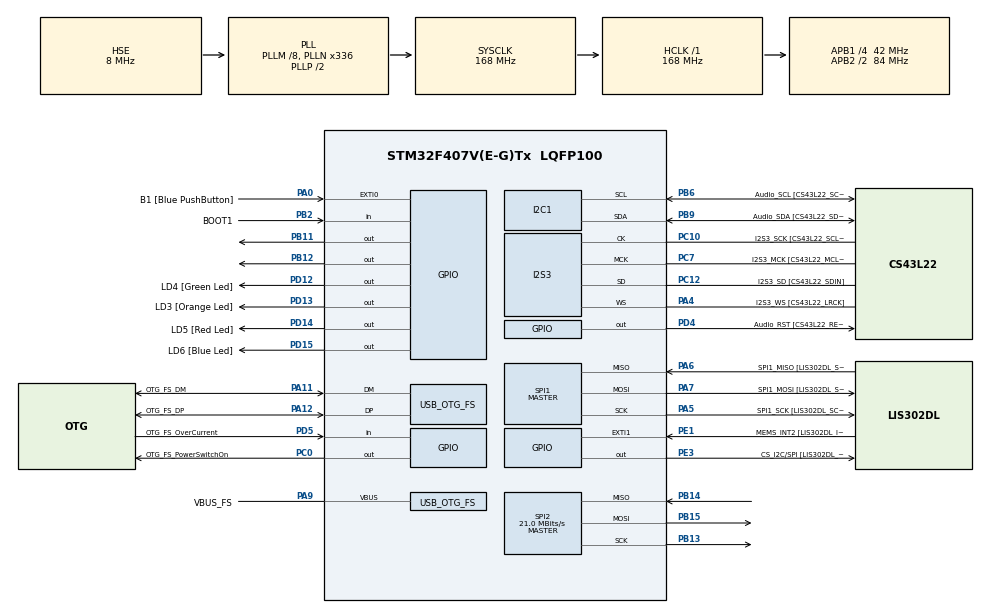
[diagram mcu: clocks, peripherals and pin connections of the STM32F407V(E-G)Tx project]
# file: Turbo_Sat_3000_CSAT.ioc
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FREERTOS.Tasks01=Task_Idle,-3,128,Idle_App,Default,NULL,Dynamic,NULL,NULL;Task_SPI_Tx,0,256,SPI_Tx_App,Default,NULL,Dynamic,NULL,NULL;Task_SPI_Rx,1,128,SPI_Rx_App,Default,NULL,Dynamic,NULL,NULL;Task_Camera,0,512,Camera_App,Default,NULL,Dynamic,NULL,NULL
FREERTOS.configUSE_NEWLIB_REENTRANT=1
I2S3.AudioFreq-Half_Duplex_Master=I2S_AUDIOFREQ_96K
I2S3.ErrorAudioFreq=-2.34 %
I2S3.ErrorAudioFreq-Half_Duplex_Master=0.8 %
I2S3.FullDuplexMode=I2S_FULLDUPLEXMODE_DISABLE
I2S3.Instance=SPI$Index
I2S3.RealAudioFreq=93.75 KHz
I2S3.RealAudioFreq-Half_Duplex_Master=96.774 KHz
I2S3.VirtualMode=I2S_MODE_MASTER
Mcu.Family=STM32F4
Mcu.Name=STM32F407V(E-G)Tx
Mcu.Package=LQFP100
NVIC.OTG_FS_IRQn=true\:5\:0\:false\:false\:true\:true\:true\:true\:true
NVIC.PriorityGroup=NVIC_PRIORITYGROUP_4
NVIC.TIM6_DAC_IRQn=true\:15\:0\:false\:false\:true\:false\:false\:true\:true
NVIC.TimeBase=TIM6_DAC_IRQn
NVIC.TimeBaseIP=TIM6
PA0-WKUP.GPIO_Label=B1 [Blue PushButton]
PA0-WKUP.GPIO_ModeDefaultEXTI=GPIO_MODE_EVT_RISING
PA0-WKUP.GPIO_PuPd=GPIO_NOPULL
PA0-WKUP.Signal=GPXTI0
PA10.GPIO_Label=OTG_FS_ID
PA10.GPIO_Mode=GPIO_MODE_AF_PP
PA10.GPIO_PuPd=GPIO_NOPULL
PA10.GPIO_Speed=GPIO_SPEED_FREQ_LOW
PA10.Signal=USB_OTG_FS_ID
PA11.GPIO_Label=OTG_FS_DM
PA11.GPIO_Mode=GPIO_MODE_AF_PP
PA11.GPIO_PuPd=GPIO_NOPULL
PA11.GPIO_Speed=GPIO_SPEED_FREQ_LOW
PA11.Mode=Host_Only
PA11.Signal=USB_OTG_FS_DM
PA12.GPIO_Label=OTG_FS_DP
PA12.GPIO_Mode=GPIO_MODE_AF_PP
PA12.GPIO_PuPd=GPIO_NOPULL
PA12.GPIO_Speed=GPIO_SPEED_FREQ_LOW
PA12.Mode=Host_Only
PA12.Signal=USB_OTG_FS_DP
PA13.GPIO_Label=SWDIO
PA13.Mode=Serial_Wire
PA13.Signal=SYS_JTMS-SWDIO
PA14.GPIO_Label=SWCLK
PA14.Mode=Serial_Wire
PA14.Signal=SYS_JTCK-SWCLK
PA4.GPIO_Label=I2S3_WS [CS43L22_LRCK]
PA4.GPIO_Mode=GPIO_MODE_AF_PP
PA4.GPIO_PuPd=GPIO_NOPULL
PA4.GPIO_Speed=GPIO_SPEED_FREQ_LOW
PA4.Mode=Half_Duplex_Master
PA4.Signal=I2S3_WS
PA5.GPIO_Label=SPI1_SCK [LIS302DL_SCL/SPC]
PA5.GPIO_Mode=GPIO_MODE_AF_PP
PA5.GPIO_PuPd=GPIO_NOPULL
PA5.GPIO_Speed=GPIO_SPEED_FREQ_LOW
PA5.Mode=Full_Duplex_Master
PA5.Signal=SPI1_SCK
PA6.GPIO_Label=SPI1_MISO [LIS302DL_SDO]
PA6.GPIO_Mode=GPIO_MODE_AF_PP
PA6.GPIO_PuPd=GPIO_NOPULL
PA6.GPIO_Speed=GPIO_SPEED_FREQ_LOW
PA6.Mode=Full_Duplex_Master
PA6.Signal=SPI1_MISO
PA7.GPIO_Label=SPI1_MOSI [LIS302DL_SDA/SDI/SDO]
PA7.GPIO_Mode=GPIO_MODE_AF_PP
PA7.GPIO_PuPd=GPIO_NOPULL
PA7.GPIO_Speed=GPIO_SPEED_FREQ_LOW
PA7.Mode=Full_Duplex_Master
PA7.Signal=SPI1_MOSI
PA9.GPIO_Label=VBUS_FS
PA9.GPIO_Mode=GPIO_MODE_INPUT
PA9.GPIO_PuPd=GPIO_NOPULL
PA9.Mode=Activate_VBUS
PA9.Signal=USB_OTG_FS_VBUS
PB10.GPIO_Label=CLK_IN [MP45DT02_CLK]
PB10.GPIO_Mode=GPIO_MODE_AF_PP
PB10.GPIO_PuPd=GPIO_NOPULL
PB10.GPIO_Speed=GPIO_SPEED_FREQ_LOW
PB10.Signal=I2S2_CK
PB11.Signal=GPIO_Output
PB12.Signal=GPIO_Output
PB13.Mode=Full_Duplex_Master
PB13.Signal=SPI2_SCK
PB14.Mode=Full_Duplex_Master
PB14.Signal=SPI2_MISO
PB15.Mode=Full_Duplex_Master
PB15.Signal=SPI2_MOSI
PB2.GPIO_Label=BOOT1
PB2.GPIO_Mode=GPIO_MODE_INPUT
PB2.GPIO_PuPd=GPIO_NOPULL
PB2.Signal=GPIO_Input
PB3.GPIO_Label=SWO
PB3.Signal=SYS_JTDO-SWO
PB6.GPIO_Label=Audio_SCL [CS43L22_SCL]
PB6.GPIO_Mode=GPIO_MODE_AF_OD
PB6.GPIO_Pu=GPIO_PULLUP
PB6.GPIO_PuPd=GPIO_NOPULL
PB6.GPIO_Speed=GPIO_SPEED_FREQ_LOW
PB6.Mode=I2C
PB6.Signal=I2C1_SCL
PB9.GPIO_Label=Audio_SDA [CS43L22_SDA]
PB9.GPIO_Mode=GPIO_MODE_AF_OD
PB9.GPIO_Pu=GPIO_PULLUP
PB9.GPIO_PuPd=GPIO_NOPULL
PB9.GPIO_Speed=GPIO_SPEED_FREQ_LOW
PB9.Mode=I2C
PB9.Signal=I2C1_SDA
PC0.GPIO_Label=OTG_FS_PowerSwitchOn
PC0.GPIO_PuPd=GPIO_NOPULL
PC0.GPIO_Speed=GPIO_SPEED_FREQ_LOW
PC0.PinState=GPIO_PIN_SET
PC0.Signal=GPIO_Output
PC10.GPIO_Label=I2S3_SCK [CS43L22_SCLK]
PC10.GPIO_Mode=GPIO_MODE_AF_PP
PC10.GPIO_PuPd=GPIO_NOPULL
PC10.GPIO_Speed=GPIO_SPEED_FREQ_LOW
PC10.Mode=Half_Duplex_Master
PC10.Signal=I2S3_CK
PC12.GPIO_Label=I2S3_SD [CS43L22_SDIN]
PC12.GPIO_Mode=GPIO_MODE_AF_PP
PC12.GPIO_PuPd=GPIO_NOPULL
PC12.GPIO_Speed=GPIO_SPEED_FREQ_LOW
PC12.Mode=Half_Duplex_Master
PC12.Signal=I2S3_SD
PC14-OSC32_IN.GPIO_Label=PC14-OSC32_IN
PC14-OSC32_IN.Mode=LSE-External-Oscillator
PC14-OSC32_IN.Signal=RCC_OSC32_IN
PC15-OSC32_OUT.GPIO_Label=PC15-OSC32_OUT
PC15-OSC32_OUT.Mode=LSE-External-Oscillator
PC15-OSC32_OUT.Signal=RCC_OSC32_OUT
PC3.GPIO_Label=PDM_OUT [MP45DT02_DOUT]
PC3.GPIO_Mode=GPIO_MODE_AF_PP
PC3.GPIO_PuPd=GPIO_NOPULL
PC3.GPIO_Speed=GPIO_SPEED_FREQ_LOW
PC3.Signal=I2S2_SD
PC7.GPIO_Label=I2S3_MCK [CS43L22_MCLK]
PC7.GPIO_Mode=GPIO_MODE_AF_PP
PC7.GPIO_PuPd=GPIO_NOPULL
PC7.GPIO_Speed=GPIO_SPEED_FREQ_LOW
PC7.Mode=Master_Clock_Activated
PC7.Signal=I2S3_MCK
PD12.GPIO_Label=LD4 [Green Led]
PD12.GPIO_PuPd=GPIO_NOPULL
PD12.GPIO_Speed=GPIO_SPEED_FREQ_LOW
PD12.Signal=GPIO_Output
PD13.GPIO_Label=LD3 [Orange Led]
PD13.GPIO_PuPd=GPIO_NOPULL
PD13.GPIO_Speed=GPIO_SPEED_FREQ_LOW
PD13.Signal=GPIO_Output
PD14.GPIO_Label=LD5 [Red Led]
PD14.GPIO_PuPd=GPIO_NOPULL
PD14.GPIO_Speed=GPIO_SPEED_FREQ_LOW
PD14.Signal=GPIO_Output
PD15.GPIO_Label=LD6 [Blue Led]
PD15.GPIO_PuPd=GPIO_NOPULL
PD15.GPIO_Speed=GPIO_SPEED_FREQ_LOW
PD15.Signal=GPIO_Output
PD4.GPIO_Label=Audio_RST [CS43L22_RESET]
PD4.GPIO_PuPd=GPIO_NOPULL
PD4.GPIO_Speed=GPIO_SPEED_FREQ_LOW
PD4.Signal=GPIO_Output
PD5.GPIO_Label=OTG_FS_OverCurrent
PD5.GPIO_Mode=GPIO_MODE_INPUT
PD5.GPIO_PuPd=GPIO_NOPULL
PD5.Signal=GPIO_Input
PE1.GPIO_Label=MEMS_INT2 [LIS302DL_INT2]
PE1.GPIO_ModeDefaultEXTI=GPIO_MODE_EVT_RISING
PE1.GPIO_PuPd=GPIO_NOPULL
PE1.Signal=GPXTI1
PE3.GPIO_Label=CS_I2C/SPI [LIS302DL_CS_I2C/SPI]
PE3.GPIO_PuPd=GPIO_NOPULL
PE3.GPIO_Speed=GPIO_SPEED_FREQ_LOW
PE3.Signal=GPIO_Output
PH0-OSC_IN.GPIO_Label=PH0-OSC_IN
PH0-OSC_IN.Mode=HSE-External-Oscillator
PH0-OSC_IN.Signal=RCC_OSC_IN
PH1-OSC_OUT.GPIO_Label=PH1-OSC_OUT
PH1-OSC_OUT.Mode=HSE-External-Oscillator
PH1-OSC_OUT.Signal=RCC_OSC_OUT
ProjectManager.HeapSize=0x200
ProjectManager.StackSize=0x400
ProjectManager.TargetToolchain=STM32CubeIDE
RCC.48MHZClocksFreq_Value=48000000
RCC.AHBFreq_Value=168000000
RCC.APB1CLKDivider=RCC_HCLK_DIV4
RCC.APB1Freq_Value=42000000
RCC.APB1TimFreq_Value=84000000
RCC.APB2CLKDivider=RCC_HCLK_DIV2
RCC.APB2Freq_Value=84000000
RCC.APB2TimFreq_Value=168000000
RCC.CortexFreq_Value=168000000
RCC.HCLKFreq_Value=168000000
RCC.HSE_VALUE=8000000
RCC.HSI_VALUE=16000000
RCC.PLLM=8
RCC.PLLN=336
RCC.PLLQ=7
RCC.SYSCLKFreq_VALUE=168000000
RCC.SYSCLKSource=RCC_SYSCLKSOURCE_PLLCLK
RCC.VCOOutputFreq_Value=336000000
SPI1.BaudRatePrescaler-Full_Duplex_Master=SPI_BAUDRATEPRESCALER_2
SPI1.CalculateBaudRate-Full_Duplex_Master=42.0 MBits/s
SPI1.Direction=SPI_DIRECTION_2LINES
SPI1.Mode=SPI_MODE_MASTER
SPI1.Mode-Full_Duplex_Master=SPI_MODE_MASTER
SPI1.VirtualType=VM_MASTER
SPI2.CalculateBaudRate=21.0 MBits/s
SPI2.Direction=SPI_DIRECTION_2LINES
SPI2.Mode=SPI_MODE_MASTER
SPI2.VirtualType=VM_MASTER
USB_HOST.BSP.number=1
USB_HOST.USBH_HandleTypeDef-CDC_FS=hUsbHostFS
USB_HOST.USBH_USE_OS-CDC_FS=0
USB_HOST.VirtualModeFS=Cdc
USB_HOST0.BSP.STBoard=false
USB_HOST0.BSP.api=Unknown
USB_HOST0.BSP.instance=PC0
USB_HOST0.BSP.ip=GPIO
USB_HOST0.BSP.mode=Output
USB_HOST0.BSP.name=Drive_VBUS_FS
USB_HOST0.BSP.solution=PC0
USB_OTG_FS.VirtualMode=Host_Only
USB_OTG_FS.phy_itface=HCD_PHY_EMBEDDED
VP_FREERTOS_VS_CMSIS_V1.Mode=CMSIS_V1
VP_SYS_VS_tim6.Mode=TIM6
VP_USB_HOST_VS_USB_HOST_CDC_FS.Mode=CDC_FS
board=STM32F407G-DISC1

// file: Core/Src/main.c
/* USER CODE BEGIN Header */
/**
  ******************************************************************************
  * @file           : main.c
  * @brief          : Main program body
  ******************************************************************************
  * @attention
  *
  * Copyright (c) 2022 STMicroelectronics.
  * All rights reserved.
  *
  * This software is licensed under terms that can be found in the LICENSE file
  * in the root directory of this software component.
  * If no LICENSE file comes with this software, it is provided AS-IS.
  *
  ******************************************************************************
  */
/* USER CODE END Header */
#include "main.h"
#include "cmsis_os.h"
#include "usb_host.h"

/* USER CODE BEGIN Includes */
#include "nrf24l01.h"
/* USER CODE END Includes */

I2C_HandleTypeDef hi2c1;

I2S_HandleTypeDef hi2s3;

SPI_HandleTypeDef hspi1;
SPI_HandleTypeDef hspi2;

osThreadId Task_IdleHandle;
osThreadId Task_SPI_TxHandle;
osThreadId Task_SPI_RxHandle;
osThreadId Task_CameraHandle;

void SystemClock_Config(void);
static void MX_GPIO_Init(void);
static void MX_I2C1_Init(void);
static void MX_I2S3_Init(void);
static void MX_SPI1_Init(void);
static void MX_SPI2_Init(void);
void Idle_App(void const * argument);
void SPI_Tx_App(void const * argument);
void SPI_Rx_App(void const * argument);
void Camera_App(void const * argument);

/* USER CODE BEGIN PFP */
uint8_t Address[]={0xEE, 0xDD, 0xCC, 0xBB, 0xAA};
uint8_t data;
uint8_t init = 1;

typedef enum
{
	RX,
	TX,
	OFF
}etat_e;

etat_e SPI_Mode=TX;
/* USER CODE END PFP */

int main(void)
{

  /* MCU Configuration--------------------------------------------------------*/

  /* Reset of all peripherals, Initializes the Flash interface and the Systick. */
  HAL_Init();

  /* Configure the system clock */
  SystemClock_Config();

  /* Initialize all configured peripherals */
  MX_GPIO_Init();
  MX_I2C1_Init();
  MX_I2S3_Init();
  MX_SPI1_Init();
  MX_SPI2_Init();
  /* USER CODE BEGIN 2 */
  nrf24_Init();
  /* USER CODE END 2 */

  /* Create the thread(s) */
  /* definition and creation of Task_Idle */
  osThreadDef(Task_Idle, Idle_App, osPriorityIdle, 0, 128);
  Task_IdleHandle = osThreadCreate(osThread(Task_Idle), NULL);

  /* definition and creation of Task_SPI_Tx */
  osThreadDef(Task_SPI_Tx, SPI_Tx_App, osPriorityNormal, 0, 256);
  Task_SPI_TxHandle = osThreadCreate(osThread(Task_SPI_Tx), NULL);

  /* definition and creation of Task_SPI_Rx */
  osThreadDef(Task_SPI_Rx, SPI_Rx_App, osPriorityAboveNormal, 0, 128);
  Task_SPI_RxHandle = osThreadCreate(osThread(Task_SPI_Rx), NULL);

  /* definition and creation of Task_Camera */
  osThreadDef(Task_Camera, Camera_App, osPriorityNormal, 0, 512);
  Task_CameraHandle = osThreadCreate(osThread(Task_Camera), NULL);

  /* Start scheduler */
  osKernelStart();

  /* We should never get here as control is now taken by the scheduler */
  /* Infinite loop */
  while (1)
  {

  }
}

void SystemClock_Config(void)
{
  RCC_OscInitTypeDef RCC_OscInitStruct = {0};
  RCC_ClkInitTypeDef RCC_ClkInitStruct = {0};

  /** Configure the main internal regulator output voltage
  */
  __HAL_RCC_PWR_CLK_ENABLE();
  __HAL_PWR_VOLTAGESCALING_CONFIG(PWR_REGULATOR_VOLTAGE_SCALE1);

  /** Initializes the RCC Oscillators according to the specified parameters
  * in the RCC_OscInitTypeDef structure.
  */
  RCC_OscInitStruct.OscillatorType = RCC_OSCILLATORTYPE_HSE;
  RCC_OscInitStruct.HSEState = RCC_HSE_ON;
  RCC_OscInitStruct.PLL.PLLState = RCC_PLL_ON;
  RCC_OscInitStruct.PLL.PLLSource = RCC_PLLSOURCE_HSE;
  RCC_OscInitStruct.PLL.PLLM = 8;
  RCC_OscInitStruct.PLL.PLLN = 336;
  RCC_OscInitStruct.PLL.PLLP = RCC_PLLP_DIV2;
  RCC_OscInitStruct.PLL.PLLQ = 7;
  if (HAL_RCC_OscConfig(&RCC_OscInitStruct) != HAL_OK)
  {
    Error_Handler();
  }

  /** Initializes the CPU, AHB and APB buses clocks
  */
  RCC_ClkInitStruct.ClockType = RCC_CLOCKTYPE_HCLK|RCC_CLOCKTYPE_SYSCLK
                              |RCC_CLOCKTYPE_PCLK1|RCC_CLOCKTYPE_PCLK2;
  RCC_ClkInitStruct.SYSCLKSource = RCC_SYSCLKSOURCE_PLLCLK;
  RCC_ClkInitStruct.AHBCLKDivider = RCC_SYSCLK_DIV1;
  RCC_ClkInitStruct.APB1CLKDivider = RCC_HCLK_DIV4;
  RCC_ClkInitStruct.APB2CLKDivider = RCC_HCLK_DIV2;

  if (HAL_RCC_ClockConfig(&RCC_ClkInitStruct, FLASH_LATENCY_5) != HAL_OK)
  {
    Error_Handler();
  }
}

static void MX_I2C1_Init(void)
{

  hi2c1.Instance = I2C1;
  hi2c1.Init.ClockSpeed = 100000;
  hi2c1.Init.DutyCycle = I2C_DUTYCYCLE_2;
  hi2c1.Init.OwnAddress1 = 0;
  hi2c1.Init.AddressingMode = I2C_ADDRESSINGMODE_7BIT;
  hi2c1.Init.DualAddressMode = I2C_DUALADDRESS_DISABLE;
  hi2c1.Init.OwnAddress2 = 0;
  hi2c1.Init.GeneralCallMode = I2C_GENERALCALL_DISABLE;
  hi2c1.Init.NoStretchMode = I2C_NOSTRETCH_DISABLE;
  if (HAL_I2C_Init(&hi2c1) != HAL_OK)
  {
    Error_Handler();
  }

}

static void MX_I2S3_Init(void)
{

  hi2s3.Instance = SPI3;
  hi2s3.Init.Mode = I2S_MODE_MASTER_TX;
  hi2s3.Init.Standard = I2S_STANDARD_PHILIPS;
  hi2s3.Init.DataFormat = I2S_DATAFORMAT_16B;
  hi2s3.Init.MCLKOutput = I2S_MCLKOUTPUT_ENABLE;
  hi2s3.Init.AudioFreq = I2S_AUDIOFREQ_96K;
  hi2s3.Init.CPOL = I2S_CPOL_LOW;
  hi2s3.Init.ClockSource = I2S_CLOCK_PLL;
  hi2s3.Init.FullDuplexMode = I2S_FULLDUPLEXMODE_DISABLE;
  if (HAL_I2S_Init(&hi2s3) != HAL_OK)
  {
    Error_Handler();
  }

}

static void MX_SPI1_Init(void)
{

  /* SPI1 parameter configuration*/
  hspi1.Instance = SPI1;
  hspi1.Init.Mode = SPI_MODE_MASTER;
  hspi1.Init.Direction = SPI_DIRECTION_2LINES;
  hspi1.Init.DataSize = SPI_DATASIZE_8BIT;
  hspi1.Init.CLKPolarity = SPI_POLARITY_LOW;
  hspi1.Init.CLKPhase = SPI_PHASE_1EDGE;
  hspi1.Init.NSS = SPI_NSS_SOFT;
  hspi1.Init.BaudRatePrescaler = SPI_BAUDRATEPRESCALER_2;
  hspi1.Init.FirstBit = SPI_FIRSTBIT_MSB;
  hspi1.Init.TIMode = SPI_TIMODE_DISABLE;
  hspi1.Init.CRCCalculation = SPI_CRCCALCULATION_DISABLE;
  hspi1.Init.CRCPolynomial = 10;
  if (HAL_SPI_Init(&hspi1) != HAL_OK)
  {
    Error_Handler();
  }

}

static void MX_SPI2_Init(void)
{

  /* SPI2 parameter configuration*/
  hspi2.Instance = SPI2;
  hspi2.Init.Mode = SPI_MODE_MASTER;
  hspi2.Init.Direction = SPI_DIRECTION_2LINES;
  hspi2.Init.DataSize = SPI_DATASIZE_8BIT;
  hspi2.Init.CLKPolarity = SPI_POLARITY_LOW;
  hspi2.Init.CLKPhase = SPI_PHASE_1EDGE;
  hspi2.Init.NSS = SPI_NSS_SOFT;
  hspi2.Init.BaudRatePrescaler = SPI_BAUDRATEPRESCALER_2;
  hspi2.Init.FirstBit = SPI_FIRSTBIT_MSB;
  hspi2.Init.TIMode = SPI_TIMODE_DISABLE;
  hspi2.Init.CRCCalculation = SPI_CRCCALCULATION_DISABLE;
  hspi2.Init.CRCPolynomial = 10;
  if (HAL_SPI_Init(&hspi2) != HAL_OK)
  {
    Error_Handler();
  }

}

static void MX_GPIO_Init(void)
{
  GPIO_InitTypeDef GPIO_InitStruct = {0};

  /* GPIO Ports Clock Enable */
  __HAL_RCC_GPIOE_CLK_ENABLE();
  __HAL_RCC_GPIOC_CLK_ENABLE();
  __HAL_RCC_GPIOH_CLK_ENABLE();
  __HAL_RCC_GPIOA_CLK_ENABLE();
  __HAL_RCC_GPIOB_CLK_ENABLE();
  __HAL_RCC_GPIOD_CLK_ENABLE();

  /*Configure GPIO pin Output Level */
  HAL_GPIO_WritePin(CS_I2C_SPI_GPIO_Port, CS_I2C_SPI_Pin, GPIO_PIN_RESET);

  /*Configure GPIO pin Output Level */
  HAL_GPIO_WritePin(OTG_FS_PowerSwitchOn_GPIO_Port, OTG_FS_PowerSwitchOn_Pin, GPIO_PIN_SET);

  /*Configure GPIO pin Output Level */
  HAL_GPIO_WritePin(GPIOB, GPIO_PIN_11|GPIO_PIN_12, GPIO_PIN_RESET);

  /*Configure GPIO pin Output Level */
  HAL_GPIO_WritePin(GPIOD, LD4_Pin|LD3_Pin|LD5_Pin|LD6_Pin
                          |Audio_RST_Pin, GPIO_PIN_RESET);

  /*Configure GPIO pin : CS_I2C_SPI_Pin */
  GPIO_InitStruct.Pin = CS_I2C_SPI_Pin;
  GPIO_InitStruct.Mode = GPIO_MODE_OUTPUT_PP;
  GPIO_InitStruct.Pull = GPIO_NOPULL;
  GPIO_InitStruct.Speed = GPIO_SPEED_FREQ_LOW;
  HAL_GPIO_Init(CS_I2C_SPI_GPIO_Port, &GPIO_InitStruct);

  /*Configure GPIO pin : OTG_FS_PowerSwitchOn_Pin */
  GPIO_InitStruct.Pin = OTG_FS_PowerSwitchOn_Pin;
  GPIO_InitStruct.Mode = GPIO_MODE_OUTPUT_PP;
  GPIO_InitStruct.Pull = GPIO_NOPULL;
  GPIO_InitStruct.Speed = GPIO_SPEED_FREQ_LOW;
  HAL_GPIO_Init(OTG_FS_PowerSwitchOn_GPIO_Port, &GPIO_InitStruct);

  /*Configure GPIO pin : PDM_OUT_Pin */
  GPIO_InitStruct.Pin = PDM_OUT_Pin;
  GPIO_InitStruct.Mode = GPIO_MODE_AF_PP;
  GPIO_InitStruct.Pull = GPIO_NOPULL;
  GPIO_InitStruct.Speed = GPIO_SPEED_FREQ_LOW;
  GPIO_InitStruct.Alternate = GPIO_AF5_SPI2;
  HAL_GPIO_Init(PDM_OUT_GPIO_Port, &GPIO_InitStruct);

  /*Configure GPIO pin : B1_Pin */
  GPIO_InitStruct.Pin = B1_Pin;
  GPIO_InitStruct.Mode = GPIO_MODE_EVT_RISING;
  GPIO_InitStruct.Pull = GPIO_NOPULL;
  HAL_GPIO_Init(B1_GPIO_Port, &GPIO_InitStruct);

  /*Configure GPIO pin : BOOT1_Pin */
  GPIO_InitStruct.Pin = BOOT1_Pin;
  GPIO_InitStruct.Mode = GPIO_MODE_INPUT;
  GPIO_InitStruct.Pull = GPIO_NOPULL;
  HAL_GPIO_Init(BOOT1_GPIO_Port, &GPIO_InitStruct);

  /*Configure GPIO pin : CLK_IN_Pin */
  GPIO_InitStruct.Pin = CLK_IN_Pin;
  GPIO_InitStruct.Mode = GPIO_MODE_AF_PP;
  GPIO_InitStruct.Pull = GPIO_NOPULL;
  GPIO_InitStruct.Speed = GPIO_SPEED_FREQ_LOW;
  GPIO_InitStruct.Alternate = GPIO_AF5_SPI2;
  HAL_GPIO_Init(CLK_IN_GPIO_Port, &GPIO_InitStruct);

  /*Configure GPIO pins : PB11 PB12 */
  GPIO_InitStruct.Pin = GPIO_PIN_11|GPIO_PIN_12;
  GPIO_InitStruct.Mode = GPIO_MODE_OUTPUT_PP;
  GPIO_InitStruct.Pull = GPIO_NOPULL;
  GPIO_InitStruct.Speed = GPIO_SPEED_FREQ_LOW;
  HAL_GPIO_Init(GPIOB, &GPIO_InitStruct);

  /*Configure GPIO pins : LD4_Pin LD3_Pin LD5_Pin LD6_Pin
                           Audio_RST_Pin */
  GPIO_InitStruct.Pin = LD4_Pin|LD3_Pin|LD5_Pin|LD6_Pin
                          |Audio_RST_Pin;
  GPIO_InitStruct.Mode = GPIO_MODE_OUTPUT_PP;
  GPIO_InitStruct.Pull = GPIO_NOPULL;
  GPIO_InitStruct.Speed = GPIO_SPEED_FREQ_LOW;
  HAL_GPIO_Init(GPIOD, &GPIO_InitStruct);

  /*Configure GPIO pin : OTG_FS_OverCurrent_Pin */
  GPIO_InitStruct.Pin = OTG_FS_OverCurrent_Pin;
  GPIO_InitStruct.Mode = GPIO_MODE_INPUT;
  GPIO_InitStruct.Pull = GPIO_NOPULL;
  HAL_GPIO_Init(OTG_FS_OverCurrent_GPIO_Port, &GPIO_InitStruct);

  /*Configure GPIO pin : MEMS_INT2_Pin */
  GPIO_InitStruct.Pin = MEMS_INT2_Pin;
  GPIO_InitStruct.Mode = GPIO_MODE_EVT_RISING;
  GPIO_InitStruct.Pull = GPIO_NOPULL;
  HAL_GPIO_Init(MEMS_INT2_GPIO_Port, &GPIO_InitStruct);

}

void Idle_App(void const * argument)
{
  /* init code for USB_HOST */
  MX_USB_HOST_Init();
  for(;;)
  {
    osDelay(1);
  }
}

void SPI_Tx_App(void const * argument)
{
  /* USER CODE BEGIN SPI_Tx_App */
  /* Infinite loop */
  for(;;)
  {
	  if(SPI_Mode==TX)
	  	{
	  		if(init==1)
	  		{
	  		nrf24_TxMode(Address, 10);
	  		init=0;
	  		}
	  		if(nrf24_Transmit(data)==1)
	  		{
	  		    //indique que l'info s'est bien envoyИe
	  		}
	  	}
	      vTaskDelay(10);
  }
  /* USER CODE END SPI_Tx_App */
}

void SPI_Rx_App(void const * argument)
{
  for(;;)
  {
    osDelay(1);
  }
}

void Camera_App(void const * argument)
{
  for(;;)
  {
    osDelay(1);
  }
}

void HAL_TIM_PeriodElapsedCallback(TIM_HandleTypeDef *htim)
{
  if (htim->Instance == TIM6) {
    HAL_IncTick();
  }
}

void Error_Handler(void)
{
  __disable_irq();
  while (1)
  {
  }
}
